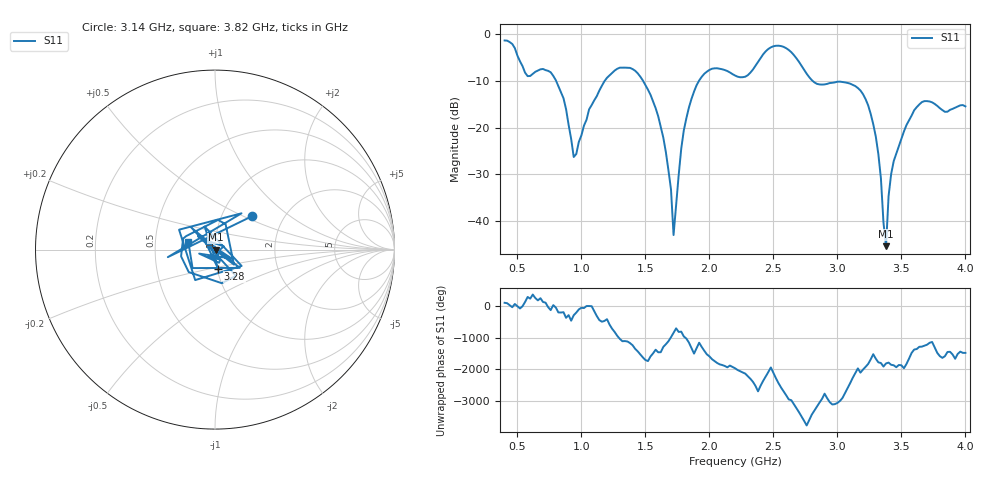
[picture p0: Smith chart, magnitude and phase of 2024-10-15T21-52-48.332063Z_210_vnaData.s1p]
! Created with skrf (http://scikit-rf.org).
# Hz S RI R 50.0
!freq ReS11 ImS11
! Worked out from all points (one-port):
!   181 points, 400 MHz to 4 GHz, reference 50 ohm
!   lowest |S11| = -45.4 dB at 3.38 GHz (marker M1), VSWR 1.01, Z = 50.5 - j0.122 ohm
!   |S11| at or under -10 dB: 802.9 MHz to 1.181 GHz (378.2 MHz wide, 38.1 % of centre); 1.483 GHz to 1.918 GHz (435.1 MHz wide, 25.6 % of centre); 2.808 GHz to end of sweep
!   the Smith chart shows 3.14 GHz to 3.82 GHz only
!   S11 on the Smith chart (normalised r, x): 3.14 GHz: 1.39, +0.56; 3.28 GHz: 1.01, -0.22; 3.82 GHz: 0.74, +0.06
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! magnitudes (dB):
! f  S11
! 400 MHz  -1.3
! 760 MHz  -8.1
! 860 MHz  -13.7
! 940 MHz  -26.3
! 1.06 GHz  -16.1
! 1.3 GHz  -7.1
! 1.44 GHz  -8.3
! 1.58 GHz  -15.8
! 1.68 GHz  -29.1
! 1.72 GHz  -43.0
! 1.76 GHz  -30.2
! 1.82 GHz  -18.0
! 1.92 GHz  -9.9
! 2.2 GHz  -8.8
! 2.5 GHz  -2.5
! 2.66 GHz  -4.4
! 2.84 GHz  -10.6
! 3.1 GHz  -10.6
! 3.14 GHz  -11.1
! 3.28 GHz  -19.2
! 3.34 GHz  -30.9
! 3.38 GHz  -45.4
! 3.4 GHz  -34.6
! 3.42 GHz  -29.9
! 3.56 GHz  -18.4
! 3.68 GHz  -14.3
! 3.82 GHz  -16.2
! 4 GHz  -15.4
